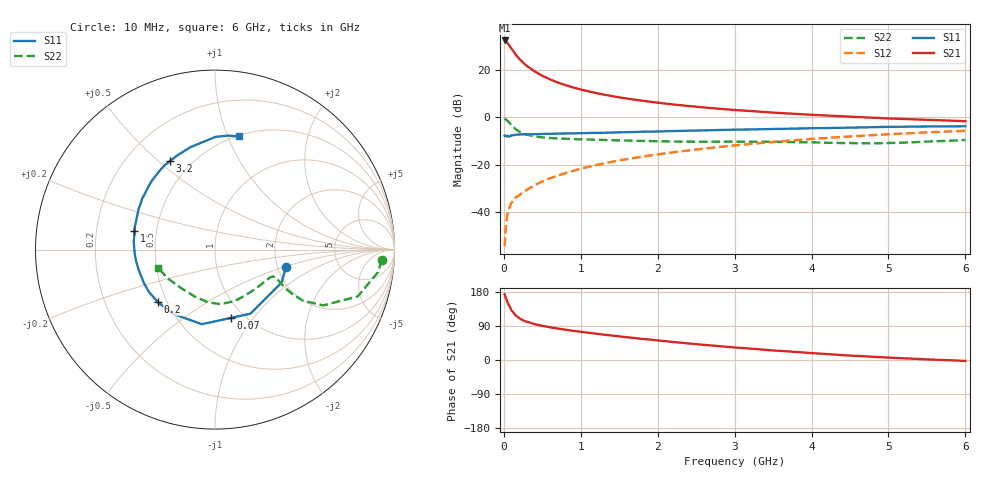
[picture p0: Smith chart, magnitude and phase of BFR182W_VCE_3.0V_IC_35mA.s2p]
! (c) 2017  Infineon Technologies AG, Munich
! Infineon Technologies  Discrete & RF Semiconductors
! BFR182W
! VCE =  3.0 V,  IC =  35 mA
! Common Emitter S-Parameters:  Jan 2017
# GHz  S  MA  R  50
!  f  S11  S21  S12  S22
! GHz  MAG  ANG  MAG  ANG  MAG  ANG  MAG  ANG
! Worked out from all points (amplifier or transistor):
!   77 points, 10 MHz to 6 GHz, reference 50 ohm
!   highest |S21| = 32.4 dB at 10 MHz (marker M1)
!   |S21| within 3 dB of that: start of sweep to 89.29 MHz
!   unconditionally stable (mu >= 1): 410 MHz to 2.383 GHz
!   at 130 MHz: K = 0.59, MSG = 31.2 dB, |S12| = -34.8 dB
!   at 2.2 GHz: K = 1.02, MAG = 9.3 dB, |S12| = -14.8 dB
!   at 6 GHz: K = 0.90, MSG = 2.0 dB, |S12| = -5.7 dB
!   S11 on the Smith chart (normalised r, x): 10 MHz: 2.23, -0.51; 70 MHz: 0.87, -0.78; 200 MHz: 0.45, -0.32; 1 GHz: 0.37, +0.10; 3.2 GHz: 0.38, +0.54; 6 GHz: 0.51, +1.10
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0.01  0.4075 -13.5  41.82 173.4  0.0019 82.7  0.9309 -3.6
0.02  0.4139 -26.4  41.8 167.3  0.0037 77.9  0.9168 -7.9
0.05  0.408 -61.0  36.85 150.2  0.0095 71.6  0.8367 -18.2
0.07  0.3907 -76.8  32.89 143.6  0.012 67.8  0.7709 -21.4
0.1  0.422 -100.0  28.07 130.4  0.0158 64.4  0.6778 -27.3
0.15  0.4279 -123.2  21.58 118.3  0.02 61.5  0.5662 -30.1
0.2  0.4325 -137.5  17.2 110.5  0.0225 62.9  0.4994 -29.9
0.25  0.4372 -147.5  14.24 104.7  0.0266 63.3  0.456 -29.0
0.3  0.4378 -154.7  12.07 100.8  0.0294 64.0  0.4274 -27.9
0.4  0.44 -164.8  9.282 94.6  0.0367 68.4  0.3949 -26.0
0.5  0.4445 -171.9  7.5 90.1  0.0439 69.6  0.3765 -25.1
0.6  0.4481 -177.5  6.307 86.3  0.0517 71.1  0.3646 -24.7
0.7  0.4511 177.9  5.436 83.0  0.0582 72.4  0.3571 -24.9
1  0.4609 166.7  3.86 74.4  0.0818 73.5  0.3419 -27.3
1.1  0.4653 163.6  3.527 71.9  0.0898 73.7  0.3393 -28.6
1.5  0.4808 152.7  2.633 62.4  0.1225 72.7  0.325 -34.9
2.1  0.5058 138.5  1.946 49.7  0.1732 69.5  0.3096 -48.2
3.1  0.5499 119.0  1.391 31.6  0.2632 61.7  0.3045 -74.3
3.2  0.553 117.2  1.355 30.1  0.2724 60.7  0.3038 -76.8
4.1  0.5897 102.0  1.107 17.0  0.3567 51.8  0.2925 -100.3
5.1  0.63 88.3  0.931 5.4  0.4463 40.7  0.2881 -135.0
6  0.6458 77.9  0.827 -2.4  0.5181 30.4  0.3317 -161.9
